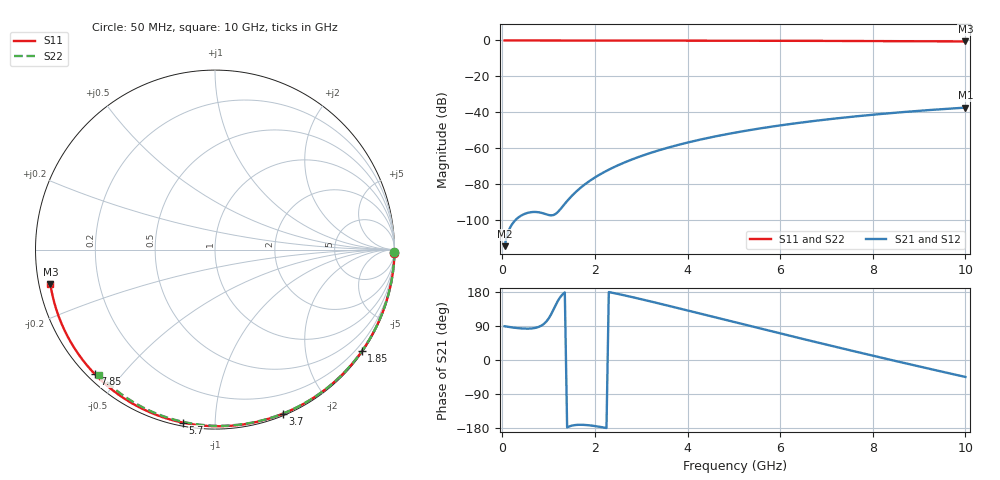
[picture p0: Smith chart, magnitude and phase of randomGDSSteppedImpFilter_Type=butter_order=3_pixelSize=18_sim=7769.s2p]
! freq	dB(S11)	phase(S11)	dB(S12)	phase(S12)
!  dB(S21)	phase(S21)	dB(S22)	phase(S22)
!S-par simulation data
#  GHz  S  DB  R 50
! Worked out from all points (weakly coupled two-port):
!   200 points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, 50 MHz to 10 GHz, reference 50 ohm
!   highest |S21| = -37.33 dB at 10 GHz (marker M1); lowest = -114.3 dB at 50 MHz (marker M2)
!   lowest |S11| = -0.6 dB at 10 GHz (marker M3), VSWR 30.85, Z = 1.64 - j5.15 ohm
!   |S11| at or under -10 dB: nowhere
!   |S22| runs from -0.4 to 0.0 dB; largest |S21 - S12| = 0
!   S11 on the Smith chart (normalised r, x): 50 MHz: open; 1.85 GHz: 0.03, -3.20; 3.7 GHz: 0.02, -1.49; 5.7 GHz: 0.02, -0.83; 7.85 GHz: 0.02, -0.42; 10 GHz: 0.03, -0.10
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0.05  -0.00 -1.0  -114.33 89.0  -114.33 89.0  -0.00 -0.8
0.45  -0.01 -8.6  -96.75 83.0  -96.75 83.0  -0.01 -6.9
0.85  -0.02 -16.2  -95.83 91.1  -95.83 91.1  -0.02 -13.0
1.3  -0.03 -24.6  -92.34 173.0  -92.34 173.0  -0.02 -19.8
1.75  -0.04 -32.9  -80.63 -171.1  -80.63 -171.1  -0.03 -26.5
1.8  -0.04 -33.8  -79.65 -171.5  -79.65 -171.5  -0.03 -27.2
1.85  -0.04 -34.7  -78.71 -172.0  -78.71 -172.0  -0.04 -28.0
2.15  -0.05 -40.2  -73.86 -177.3  -73.86 -177.3  -0.04 -32.4
2.5  -0.06 -46.5  -69.35 174.3  -69.35 174.3  -0.05 -37.5
2.9  -0.07 -53.6  -65.17 163.3  -65.17 163.3  -0.06 -43.3
3.4  -0.08 -62.4  -60.90 148.7  -60.90 148.7  -0.07 -50.4
3.7  -0.09 -67.6  -58.72 139.8  -58.72 139.8  -0.07 -54.6
4.35  -0.11 -78.5  -54.68 120.1  -54.68 120.1  -0.09 -63.5
5.05  -0.14 -90.1  -51.11 98.9  -51.11 98.9  -0.11 -72.9
5.7  -0.17 -100.5  -48.35 79.2  -48.35 79.2  -0.14 -81.4
6.2  -0.20 -108.4  -46.50 64.2  -46.50 64.2  -0.16 -87.7
6.7  -0.23 -116.2  -44.84 49.4  -44.84 49.4  -0.18 -93.9
7.25  -0.27 -124.7  -43.21 33.2  -43.21 33.2  -0.21 -100.7
7.85  -0.32 -134.0  -41.64 15.8  -41.64 15.8  -0.25 -107.9
8.35  -0.36 -141.7  -40.47 1.4  -40.47 1.4  -0.29 -113.7
9.2  -0.46 -155.1  -38.72 -22.6  -38.72 -22.6  -0.36 -123.6
10  -0.56 -168.2  -37.33 -44.7  -37.33 -44.7  -0.45 -132.7
